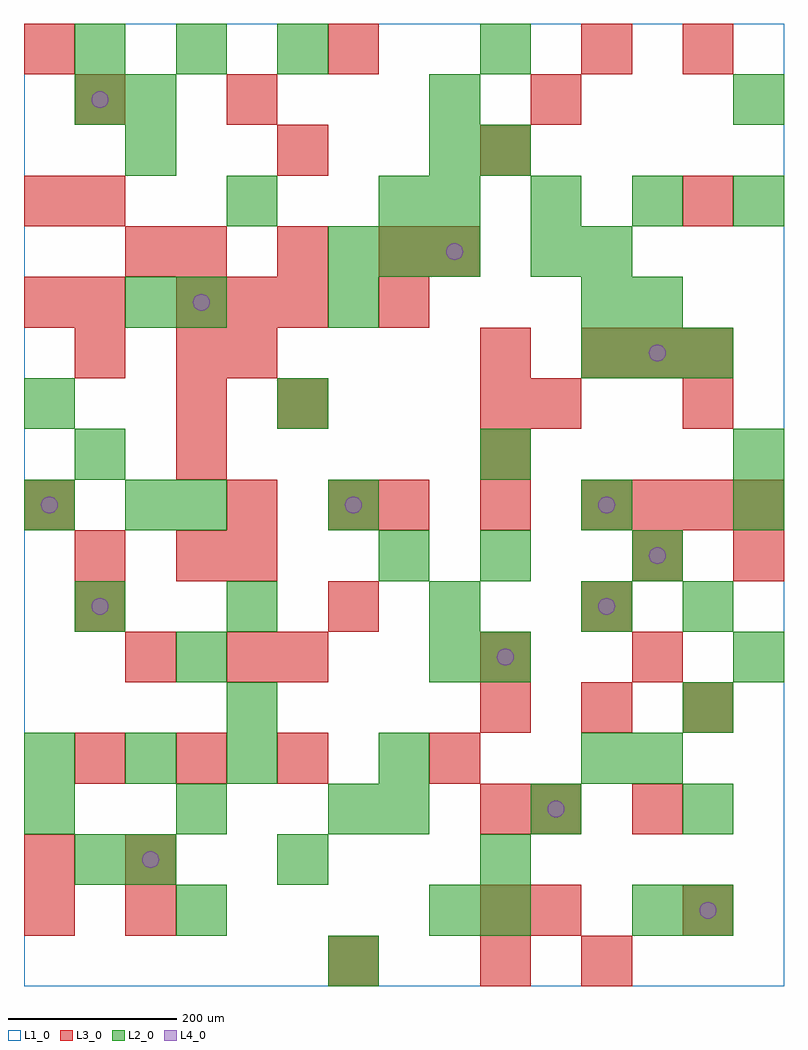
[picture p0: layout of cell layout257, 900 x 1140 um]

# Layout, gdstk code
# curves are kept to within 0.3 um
import gdstk
lib = gdstk.Library(unit=1e-6, precision=1e-09)
def R(c, l, rs):  # rectangles x0, y0, x1, y1
    for r in rs: c.add(gdstk.rectangle(r[:2], r[2:], *l))
def A(c, l, x, y, w, h, nx, ny, dx, dy):  # array of equal rectangles
    R(c, l, [(x+i*dx, y+j*dy, x+i*dx+w, y+j*dy+h) for i in range(nx) for j in range(ny)])
def P(c, l, *ps):  # polygons
    for p in ps: c.add(gdstk.Polygon(p, *l))
L1_0 = (1, 0)
L2_0 = (2, 0)
L3_0 = (3, 0)
L4_0 = (4, 0)

layout257 = lib.new_cell('layout257')
R(layout257, L1_0, [(0,0,900,1140)])
A(layout257, L2_0, 0, 180, 60, 60, 3, 1, 180, 0)
A(layout257, L2_0, 420, 180, 60, 60, 3, 1, 180, 0)
A(layout257, L2_0, 0, 240, 60, 60, 3, 1, 120, 0)
A(layout257, L2_0, 540, 360, 60, 60, 1, 3, 0, 120)
A(layout257, L2_0, 660, 720, 60, 60, 3, 1, 60, 0)
A(layout257, L2_0, 360, 840, 60, 60, 3, 1, 60, 0)
A(layout257, L2_0, 480, 900, 60, 60, 4, 1, 120, 0)
A(layout257, L2_0, 120, 1020, 60, 60, 3, 1, 360, 0)
A(layout257, L2_0, 60, 1080, 60, 60, 3, 1, 120, 0)
R(layout257, L2_0, [(360,0,420,60), (180,60,240,120), (480,60,540,120), (540,60,600,120), (720,60,780,120), (780,60,840,120), (60,120,120,180), (120,120,180,180), (300,120,360,180), (540,120,600,180), (420,240,480,300), (660,240,720,300), (720,240,780,300), (240,300,300,360), (780,300,840,360), (180,360,240,420), (480,360,540,420), (840,360,900,420), (60,420,120,480), (240,420,300,480), (480,420,540,480), (660,420,720,480), (780,420,840,480), (420,480,480,540), (720,480,780,540), (0,540,60,600), (120,540,180,600), (180,540,240,600), (360,540,420,600), (660,540,720,600), (840,540,900,600), (60,600,120,660), (840,600,900,660), (0,660,60,720), (300,660,360,720), (120,780,180,840), (180,780,240,840), (360,780,420,840), (660,780,720,840), (720,780,780,840), (600,840,660,900), (660,840,720,900), (240,900,300,960), (420,900,480,960), (120,960,180,1020), (480,960,540,1020), (540,960,600,1020), (60,1020,120,1080), (540,1080,600,1140)])
A(layout257, L3_0, 360, 0, 60, 60, 1, 3, 0, 540)
A(layout257, L3_0, 60, 240, 60, 60, 3, 1, 120, 0)
A(layout257, L3_0, 540, 300, 60, 60, 3, 1, 120, 0)
A(layout257, L3_0, 300, 360, 60, 60, 1, 3, 0, 300)
A(layout257, L3_0, 60, 420, 60, 60, 3, 1, 300, 0)
A(layout257, L3_0, 420, 540, 60, 60, 3, 1, 120, 0)
A(layout257, L3_0, 720, 540, 60, 60, 3, 1, 60, 0)
A(layout257, L3_0, 180, 600, 60, 60, 1, 3, 0, 60)
A(layout257, L3_0, 540, 600, 60, 60, 1, 3, 0, 60)
A(layout257, L3_0, 660, 720, 60, 60, 3, 1, 60, 0)
A(layout257, L3_0, 60, 780, 60, 60, 1, 3, 0, 120)
A(layout257, L3_0, 180, 780, 60, 60, 3, 1, 60, 0)
A(layout257, L3_0, 180, 840, 60, 60, 3, 1, 120, 0)
R(layout257, L3_0, [(540,0,600,60), (660,0,720,60), (0,60,60,120), (120,60,180,120), (540,60,600,120), (600,60,660,120), (780,60,840,120), (0,120,60,180), (120,120,180,180), (540,180,600,240), (600,180,660,240), (720,180,780,240), (480,240,540,300), (120,360,180,420), (240,360,300,420), (540,360,600,420), (720,360,780,420), (60,480,120,540), (180,480,240,540), (240,480,300,540), (720,480,780,540), (840,480,900,540), (0,540,60,600), (240,540,300,600), (600,660,660,720), (780,660,840,720), (60,720,120,780), (240,720,300,780), (0,780,60,840), (420,780,480,840), (120,840,180,900), (480,840,540,900), (0,900,60,960), (780,900,840,960), (540,960,600,1020), (240,1020,300,1080), (600,1020,660,1080), (0,1080,60,1140), (660,1080,720,1140), (780,1080,840,1140)])
P(layout257, L4_0, [(40,570),(39.239,573.827),(37.071,577.071),(33.827,579.239),(30,580),(26.173,579.239),(22.929,577.071),(20.761,573.827),(20,570),(20.761,566.173),(22.929,562.929),(26.173,560.761),(30,560),(33.827,560.761),(37.071,562.929),(39.239,566.173)],
  [(100,450),(99.239,453.827),(97.071,457.071),(93.827,459.239),(90,460),(86.173,459.239),(82.929,457.071),(80.761,453.827),(80,450),(80.761,446.173),(82.929,442.929),(86.173,440.761),(90,440),(93.827,440.761),(97.071,442.929),(99.239,446.173)],
  [(100,1050),(99.239,1053.827),(97.071,1057.071),(93.827,1059.239),(90,1060),(86.173,1059.239),(82.929,1057.071),(80.761,1053.827),(80,1050),(80.761,1046.173),(82.929,1042.929),(86.173,1040.761),(90,1040),(93.827,1040.761),(97.071,1042.929),(99.239,1046.173)],
  [(160,150),(159.239,153.827),(157.071,157.071),(153.827,159.239),(150,160),(146.173,159.239),(142.929,157.071),(140.761,153.827),(140,150),(140.761,146.173),(142.929,142.929),(146.173,140.761),(150,140),(153.827,140.761),(157.071,142.929),(159.239,146.173)],
  [(220,810),(219.239,813.827),(217.071,817.071),(213.827,819.239),(210,820),(206.173,819.239),(202.929,817.071),(200.761,813.827),(200,810),(200.761,806.173),(202.929,802.929),(206.173,800.761),(210,800),(213.827,800.761),(217.071,802.929),(219.239,806.173)],
  [(400,570),(399.239,573.827),(397.071,577.071),(393.827,579.239),(390,580),(386.173,579.239),(382.929,577.071),(380.761,573.827),(380,570),(380.761,566.173),(382.929,562.929),(386.173,560.761),(390,560),(393.827,560.761),(397.071,562.929),(399.239,566.173)],
  [(520,870),(519.239,873.827),(517.071,877.071),(513.827,879.239),(510,880),(506.173,879.239),(502.929,877.071),(500.761,873.827),(500,870),(500.761,866.173),(502.929,862.929),(506.173,860.761),(510,860),(513.827,860.761),(517.071,862.929),(519.239,866.173)],
  [(580,390),(579.239,393.827),(577.071,397.071),(573.827,399.239),(570,400),(566.173,399.239),(562.929,397.071),(560.761,393.827),(560,390),(560.761,386.173),(562.929,382.929),(566.173,380.761),(570,380),(573.827,380.761),(577.071,382.929),(579.239,386.173)],
  [(640,210),(639.239,213.827),(637.071,217.071),(633.827,219.239),(630,220),(626.173,219.239),(622.929,217.071),(620.761,213.827),(620,210),(620.761,206.173),(622.929,202.929),(626.173,200.761),(630,200),(633.827,200.761),(637.071,202.929),(639.239,206.173)],
  [(700,450),(699.239,453.827),(697.071,457.071),(693.827,459.239),(690,460),(686.173,459.239),(682.929,457.071),(680.761,453.827),(680,450),(680.761,446.173),(682.929,442.929),(686.173,440.761),(690,440),(693.827,440.761),(697.071,442.929),(699.239,446.173)],
  [(700,570),(699.239,573.827),(697.071,577.071),(693.827,579.239),(690,580),(686.173,579.239),(682.929,577.071),(680.761,573.827),(680,570),(680.761,566.173),(682.929,562.929),(686.173,560.761),(690,560),(693.827,560.761),(697.071,562.929),(699.239,566.173)],
  [(760,510),(759.239,513.827),(757.071,517.071),(753.827,519.239),(750,520),(746.173,519.239),(742.929,517.071),(740.761,513.827),(740,510),(740.761,506.173),(742.929,502.929),(746.173,500.761),(750,500),(753.827,500.761),(757.071,502.929),(759.239,506.173)],
  [(760,750),(759.239,753.827),(757.071,757.071),(753.827,759.239),(750,760),(746.173,759.239),(742.929,757.071),(740.761,753.827),(740,750),(740.761,746.173),(742.929,742.929),(746.173,740.761),(750,740),(753.827,740.761),(757.071,742.929),(759.239,746.173)],
  [(820,90),(819.239,93.827),(817.071,97.071),(813.827,99.239),(810,100),(806.173,99.239),(802.929,97.071),(800.761,93.827),(800,90),(800.761,86.173),(802.929,82.929),(806.173,80.761),(810,80),(813.827,80.761),(817.071,82.929),(819.239,86.173)])

lib.write_gds('layout257.gds')
